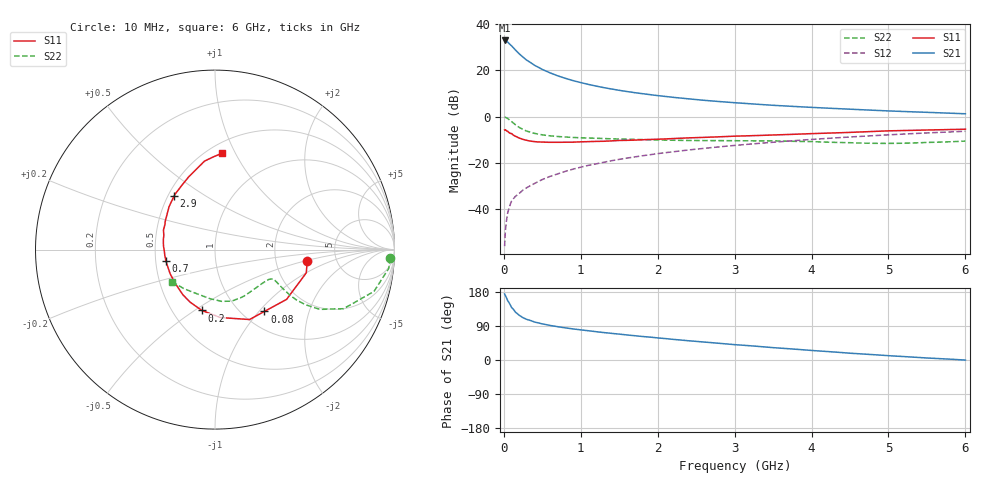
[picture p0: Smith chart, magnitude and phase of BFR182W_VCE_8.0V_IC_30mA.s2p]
! Infineon Technologies  Discrete & RF Semiconductors
! BFR182W
! VCE =  8.0 V,  IC =  30 mA
! Common Emitter S-Parameters:  Jan 2017
# GHz  S  MA  R  50
!  f  S11  S21  S12  S22
! GHz  MAG  ANG  MAG  ANG  MAG  ANG  MAG  ANG
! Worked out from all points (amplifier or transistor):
!   77 points, 10 MHz to 6 GHz, reference 50 ohm
!   highest |S21| = 33.0 dB at 10 MHz (marker M1)
!   |S21| within 3 dB of that: start of sweep to 119.8 MHz
!   unconditionally stable (mu >= 1): 681.2 MHz to 2.271 GHz
!   at 130 MHz: K = 0.50, MSG = 32.4 dB, |S12| = -35.2 dB
!   at 2.2 GHz: K = 1.01, MAG = 11.3 dB, |S12| = -15.1 dB
!   at 6 GHz: K = 0.86, MSG = 3.8 dB, |S12| = -6.3 dB
!   S11 on the Smith chart (normalised r, x): 10 MHz: 3.06, -0.51; 80 MHz: 1.25, -1.07; 200 MHz: 0.69, -0.54; 700 MHz: 0.57, -0.08; 2.9 GHz: 0.54, +0.37; 6 GHz: 0.59, +0.89
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0.01  0.5183 -6.8  44.48 174.2  0.0016 82.5  0.9768 -2.7
0.02  0.5247 -14.3  44.28 170.0  0.0034 88.9  0.9738 -6.2
0.05  0.4858 -34.8  41.06 156.7  0.0083 77.3  0.9157 -14.8
0.08  0.4409 -51.4  36.5 146.8  0.0123 73.3  0.8359 -20.4
0.1  0.4345 -63.7  34.19 138.9  0.015 71.8  0.7878 -24.7
0.15  0.3798 -85.5  27.78 126.5  0.019 65.8  0.6717 -29.7
0.2  0.3467 -102.2  22.89 118.0  0.0221 66.7  0.5882 -31.4
0.25  0.3239 -115.4  19.33 111.6  0.0261 65.9  0.5306 -31.7
0.3  0.3088 -125.4  16.58 107.0  0.0295 67.1  0.4874 -31.3
0.4  0.2902 -140.5  12.92 100.1  0.0362 69.1  0.4369 -29.9
0.5  0.2838 -151.7  10.52 95.3  0.044 70.9  0.4062 -28.7
0.6  0.2801 -160.3  8.888 91.3  0.0514 71.3  0.3869 -27.7
0.7  0.2804 -167.3  7.671 87.9  0.0583 73.0  0.3743 -27.2
0.9  0.2825 -178.3  6.031 82.0  0.0738 72.7  0.3572 -27.3
1.1  0.2903 172.4  4.994 77.2  0.0892 73.0  0.3469 -28.4
1.5  0.3074 159.2  3.723 68.3  0.12 71.5  0.3305 -32.5
2.1  0.332 143.5  2.744 56.5  0.1673 68.2  0.3129 -42.7
2.9  0.3745 127.6  2.07 42.3  0.2319 62.5  0.3043 -59.8
3.1  0.3846 123.9  1.959 39.1  0.2482 60.8  0.3027 -64.0
4.1  0.4368 108.3  1.565 23.8  0.3318 52.2  0.2864 -85.2
5.1  0.5 95.6  1.317 10.2  0.4146 42.6  0.2665 -115.6
6  0.538 85.8  1.16 -0.1  0.4855 33.4  0.2979 -143.1
